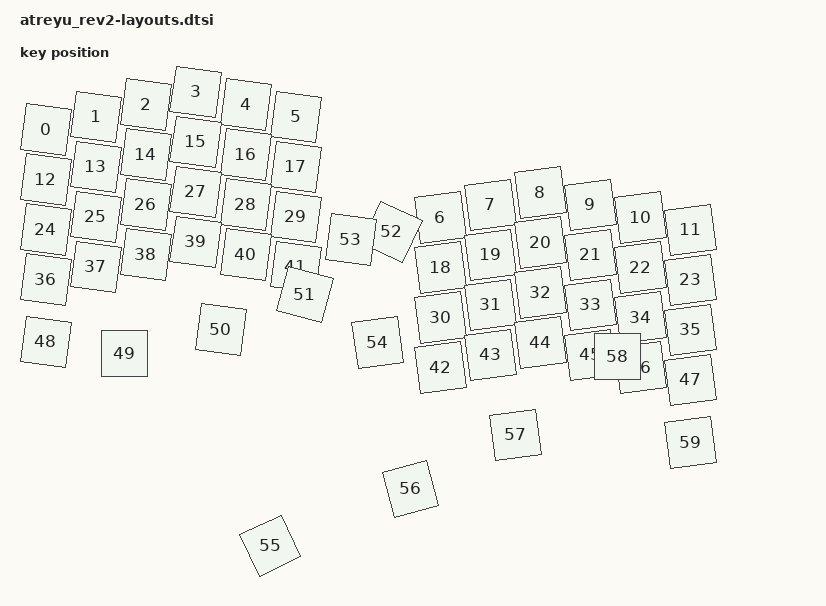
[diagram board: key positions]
#include <physical_layouts.dtsi>


/ {
    atreyu_rev2_layout: atreyu_rev2_layout {
        compatible = "zmk,physical-layout";
        display-name = "atreyu_rev2 Keyboard Layout";
        kscan = <&kscan0>;
        transform = <&default_transform>;
        keys  //                     w   h    x    y     rot    rx    ry
            = <&key_physical_attrs 100 100  100   75     800   100    75>
            , <&key_physical_attrs 100 100  200   50     800   200    50>
            , <&key_physical_attrs 100 100  300   25     800   300    25>
            , <&key_physical_attrs 100 100  400    0     800   400     0>
            , <&key_physical_attrs 100 100  500   25     800   500    25>
            , <&key_physical_attrs 100 100  600   50     800   600    50>
            , <&key_physical_attrs 100 100  875  265  (-800)   875   265>
            , <&key_physical_attrs 100 100  975  240  (-800)   975   240>
            , <&key_physical_attrs 100 100 1075  215  (-800)  1075   215>
            , <&key_physical_attrs 100 100 1175  240  (-800)  1175   240>
            , <&key_physical_attrs 100 100 1275  265  (-800)  1275   265>
            , <&key_physical_attrs 100 100 1375  290  (-800)  1375   290>
            , <&key_physical_attrs 100 100  100  175     800   100   175>
            , <&key_physical_attrs 100 100  200  150     800   200   150>
            , <&key_physical_attrs 100 100  300  125     800   300   125>
            , <&key_physical_attrs 100 100  400  100     800   400   100>
            , <&key_physical_attrs 100 100  500  125     800   500   125>
            , <&key_physical_attrs 100 100  600  150     800   600   150>
            , <&key_physical_attrs 100 100  875  365  (-800)   875   365>
            , <&key_physical_attrs 100 100  975  340  (-800)   975   340>
            , <&key_physical_attrs 100 100 1075  315  (-800)  1075   315>
            , <&key_physical_attrs 100 100 1175  340  (-800)  1175   340>
            , <&key_physical_attrs 100 100 1275  365  (-800)  1275   365>
            , <&key_physical_attrs 100 100 1375  390  (-800)  1375   390>
            , <&key_physical_attrs 100 100  100  275     800   100   275>
            , <&key_physical_attrs 100 100  200  250     800   200   250>
            , <&key_physical_attrs 100 100  300  225     800   300   225>
            , <&key_physical_attrs 100 100  400  200     800   400   200>
            , <&key_physical_attrs 100 100  500  225     800   500   225>
            , <&key_physical_attrs 100 100  600  250     800   600   250>
            , <&key_physical_attrs 100 100  875  465  (-800)   875   465>
            , <&key_physical_attrs 100 100  975  440  (-800)   975   440>
            , <&key_physical_attrs 100 100 1075  415  (-800)  1075   415>
            , <&key_physical_attrs 100 100 1175  440  (-800)  1175   440>
            , <&key_physical_attrs 100 100 1275  465  (-800)  1275   465>
            , <&key_physical_attrs 100 100 1375  490  (-800)  1375   490>
            , <&key_physical_attrs 100 100  100  375     800   100   375>
            , <&key_physical_attrs 100 100  200  350     800   200   350>
            , <&key_physical_attrs 100 100  300  325     800   300   325>
            , <&key_physical_attrs 100 100  400  300     800   400   300>
            , <&key_physical_attrs 100 100  500  325     800   500   325>
            , <&key_physical_attrs 100 100  600  350     800   600   350>
            , <&key_physical_attrs 100 100  875  565  (-800)   875   565>
            , <&key_physical_attrs 100 100  975  540  (-800)   975   540>
            , <&key_physical_attrs 100 100 1075  515  (-800)  1075   515>
            , <&key_physical_attrs 100 100 1175  540  (-800)  1175   540>
            , <&key_physical_attrs 100 100 1275  565  (-800)  1275   565>
            , <&key_physical_attrs 100 100 1375  590  (-800)  1375   590>
            , <&key_physical_attrs 100 100  100  500     800   100   500>
            , <&key_physical_attrs 100 100  250  530       0   250   530>
            , <&key_physical_attrs 100 100  450  475     800   450   475>
            , <&key_physical_attrs 100 100  625  400    1500   625   400>
            , <&key_physical_attrs 100 100  810  270    2500   810   270>
            , <&key_physical_attrs 100 100  710  295     800   710   295>
            , <&key_physical_attrs 100 100  750  515  (-800)   750   515>
            , <&key_physical_attrs 100 100  525  940 (-2500)   525   940>
            , <&key_physical_attrs 100 100  810  815 (-1500)   810   815>
            , <&key_physical_attrs 100 100 1025  700  (-800)  1025   700>
            , <&key_physical_attrs 100 100 1235  535       0  1235   535>
            , <&key_physical_attrs 100 100 1375  715  (-800)  1375   715>
            ;
    };
};
/ {
    chosen {
        zmk,kscan = <&kscan0>;
        zmk,physical-layouts = &atreyu_rev2_layout;
    };
}; 
&atreyu_rev2_layout {
	transform = <&default_transform>;
	kscan = <&kscan0>;
};

zephyr_udc0: &usbd { 
    compatible = "nordic,nrf-usbd"; 
    status = "okay"; 
};
